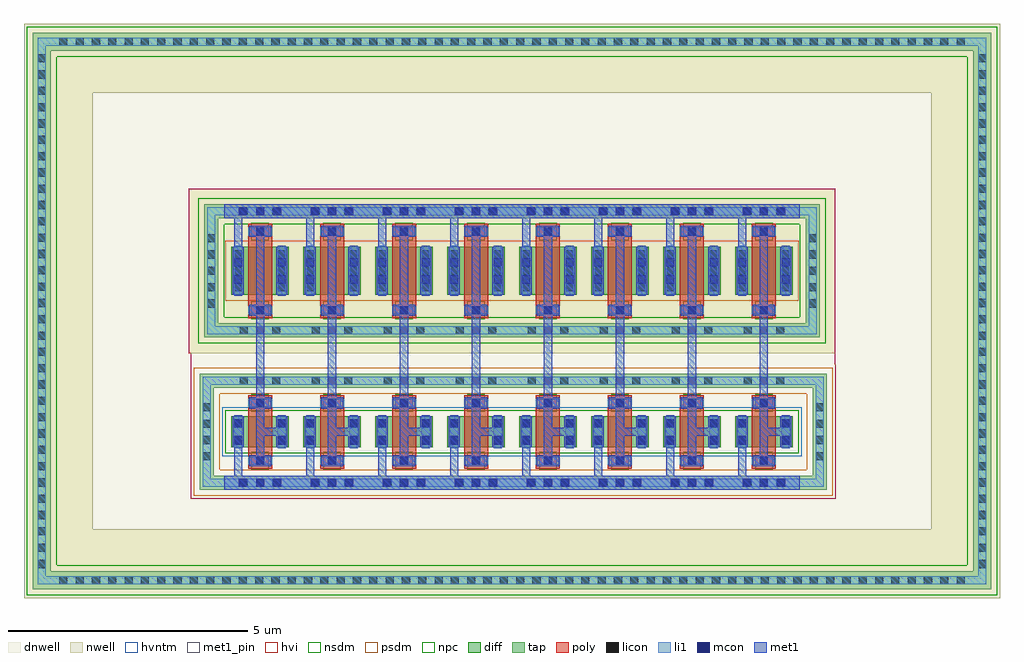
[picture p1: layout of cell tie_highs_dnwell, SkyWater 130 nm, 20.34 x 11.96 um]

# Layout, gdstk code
import gdstk
lib = gdstk.Library(unit=1e-6, precision=1e-09)
def R(c, l, rs):  # rectangles x0, y0, x1, y1
    for r in rs: c.add(gdstk.rectangle(r[:2], r[2:], *l))
def A(c, l, x, y, w, h, nx, ny, dx, dy):  # array of equal rectangles
    R(c, l, [(x+i*dx, y+j*dy, x+i*dx+w, y+j*dy+h) for i in range(nx) for j in range(ny)])
dnwell = (64, 18)
nwell = (64, 20)
diff = (65, 20)
tap = (65, 44)
poly = (66, 20)
licon = (66, 44)
li1 = (67, 20)
mcon = (67, 44)
met1_pin = (68, 16)
met1 = (68, 20)
hvi = (75, 20)
nsdm = (93, 44)
psdm = (94, 20)
npc = (95, 20)
hvntm = (125, 20)

transistor_pair_bus = lib.new_cell('transistor_pair_bus')
R(transistor_pair_bus, nwell, [(-0.3,3.03,13.18,6.46)])
A(transistor_pair_bus, diff, 0.59, 1.065, 1.2, 0.65, 8, 1, 1.5, 0)
A(transistor_pair_bus, diff, 0.59, 4.245, 1.2, 1, 8, 1, 1.5, 0)
R(transistor_pair_bus, tap, [(-0.07,0.18,13,0.47), (-0.07,0.47,0.22,2.31), (12.71,0.47,13,2.31), (-0.07,2.31,13,2.6), (0.03,3.36,12.85,3.65), (0.03,3.65,0.32,5.84), (12.56,3.65,12.85,5.84), (0.03,5.84,12.85,6.13)])
A(transistor_pair_bus, poly, 0.94, 0.625, 0.5, 1.53, 8, 1, 1.5, 0)
A(transistor_pair_bus, poly, 0.94, 3.76, 0.5, 1.97, 8, 1, 1.5, 0)
A(transistor_pair_bus, licon, 0.765, 0.24, 0.17, 0.17, 3, 2, 0.34, 2.13)
A(transistor_pair_bus, licon, 2.265, 0.24, 0.17, 0.17, 3, 2, 0.34, 2.13)
A(transistor_pair_bus, licon, 3.765, 0.24, 0.17, 0.17, 3, 2, 0.34, 2.13)
A(transistor_pair_bus, licon, 5.265, 0.24, 0.17, 0.17, 3, 2, 0.34, 2.13)
A(transistor_pair_bus, licon, 6.765, 0.24, 0.17, 0.17, 3, 2, 0.34, 2.13)
A(transistor_pair_bus, licon, 8.265, 0.24, 0.17, 0.17, 3, 2, 0.34, 2.13)
A(transistor_pair_bus, licon, 9.765, 0.24, 0.17, 0.17, 3, 2, 0.34, 2.13)
A(transistor_pair_bus, licon, 11.265, 0.24, 0.17, 0.17, 3, 2, 0.34, 2.13)
A(transistor_pair_bus, licon, 1.105, 0.705, 0.17, 0.17, 8, 2, 1.5, 1.2)
A(transistor_pair_bus, licon, -0.01, 0.795, 0.17, 0.17, 1, 4, 0, 0.34)
A(transistor_pair_bus, licon, 12.77, 0.795, 0.17, 0.17, 1, 4, 0, 0.34)
A(transistor_pair_bus, licon, 0.765, 3.42, 0.17, 0.17, 3, 2, 0.34, 2.48)
A(transistor_pair_bus, licon, 2.265, 3.42, 0.17, 0.17, 3, 2, 0.34, 2.48)
A(transistor_pair_bus, licon, 3.765, 3.42, 0.17, 0.17, 3, 2, 0.34, 2.48)
A(transistor_pair_bus, licon, 5.265, 3.42, 0.17, 0.17, 3, 2, 0.34, 2.48)
A(transistor_pair_bus, licon, 6.765, 3.42, 0.17, 0.17, 3, 2, 0.34, 2.48)
A(transistor_pair_bus, licon, 8.265, 3.42, 0.17, 0.17, 3, 2, 0.34, 2.48)
A(transistor_pair_bus, licon, 9.765, 3.42, 0.17, 0.17, 3, 2, 0.34, 2.48)
A(transistor_pair_bus, licon, 11.265, 3.42, 0.17, 0.17, 3, 2, 0.34, 2.48)
A(transistor_pair_bus, licon, 1.105, 3.84, 0.17, 0.17, 8, 2, 1.5, 1.64)
A(transistor_pair_bus, licon, 0.09, 3.98, 0.17, 0.17, 1, 5, 0, 0.34)
A(transistor_pair_bus, licon, 12.62, 3.98, 0.17, 0.17, 1, 5, 0, 0.34)
A(transistor_pair_bus, licon, 0.65, 4.32, 0.17, 0.17, 1, 3, 0, 0.34)
A(transistor_pair_bus, licon, 1.56, 4.32, 0.17, 0.17, 1, 3, 0, 0.34)
A(transistor_pair_bus, licon, 2.15, 4.32, 0.17, 0.17, 1, 3, 0, 0.34)
A(transistor_pair_bus, licon, 3.06, 4.32, 0.17, 0.17, 1, 3, 0, 0.34)
A(transistor_pair_bus, licon, 3.65, 4.32, 0.17, 0.17, 1, 3, 0, 0.34)
A(transistor_pair_bus, licon, 4.56, 4.32, 0.17, 0.17, 1, 3, 0, 0.34)
A(transistor_pair_bus, licon, 5.15, 4.32, 0.17, 0.17, 1, 3, 0, 0.34)
A(transistor_pair_bus, licon, 6.06, 4.32, 0.17, 0.17, 1, 3, 0, 0.34)
A(transistor_pair_bus, licon, 6.65, 4.32, 0.17, 0.17, 1, 3, 0, 0.34)
A(transistor_pair_bus, licon, 7.56, 4.32, 0.17, 0.17, 1, 3, 0, 0.34)
A(transistor_pair_bus, licon, 8.15, 4.32, 0.17, 0.17, 1, 3, 0, 0.34)
A(transistor_pair_bus, licon, 9.06, 4.32, 0.17, 0.17, 1, 3, 0, 0.34)
A(transistor_pair_bus, licon, 9.65, 4.32, 0.17, 0.17, 1, 3, 0, 0.34)
A(transistor_pair_bus, licon, 10.56, 4.32, 0.17, 0.17, 1, 3, 0, 0.34)
A(transistor_pair_bus, licon, 11.15, 4.32, 0.17, 0.17, 1, 3, 0, 0.34)
A(transistor_pair_bus, licon, 12.06, 4.32, 0.17, 0.17, 1, 3, 0, 0.34)
R(transistor_pair_bus, licon, [(0.65,1.135,0.82,1.305), (1.56,1.135,1.73,1.305), (2.15,1.135,2.32,1.305), (3.06,1.135,3.23,1.305), (3.65,1.135,3.82,1.305), (4.56,1.135,4.73,1.305), (5.15,1.135,5.32,1.305), (6.06,1.135,6.23,1.305), (6.65,1.135,6.82,1.305), (7.56,1.135,7.73,1.305), (8.15,1.135,8.32,1.305), (9.06,1.135,9.23,1.305), (9.65,1.135,9.82,1.305), (10.56,1.135,10.73,1.305), (11.15,1.135,11.32,1.305), (12.06,1.135,12.23,1.305), (0.65,1.475,0.82,1.645), (1.56,1.475,1.73,1.645), (2.15,1.475,2.32,1.645), (3.06,1.475,3.23,1.645), (3.65,1.475,3.82,1.645), (4.56,1.475,4.73,1.645), (5.15,1.475,5.32,1.645), (6.06,1.475,6.23,1.645), (6.65,1.475,6.82,1.645), (7.56,1.475,7.73,1.645), (8.15,1.475,8.32,1.645), (9.06,1.475,9.23,1.645), (9.65,1.475,9.82,1.645), (10.56,1.475,10.73,1.645), (11.15,1.475,11.32,1.645), (12.06,1.475,12.23,1.645)])
A(transistor_pair_bus, li1, 0.94, 0.705, 0.5, 0.17, 8, 2, 1.5, 1.2)
A(transistor_pair_bus, li1, 0.94, 3.84, 0.5, 0.17, 8, 2, 1.5, 1.64)
R(transistor_pair_bus, li1, [(-0.01,0.24,12.94,0.41), (-0.01,0.41,0.16,2.37), (12.77,0.41,12.94,2.37), (0.65,1.045,0.82,1.735), (1.56,1.045,1.73,1.735), (2.15,1.045,2.32,1.735), (3.06,1.045,3.23,1.735), (3.65,1.045,3.82,1.735), (4.56,1.045,4.73,1.735), (5.15,1.045,5.32,1.735), (6.06,1.045,6.23,1.735), (6.65,1.045,6.82,1.735), (7.56,1.045,7.73,1.735), (8.15,1.045,8.32,1.735), (9.06,1.045,9.23,1.735), (9.65,1.045,9.82,1.735), (10.56,1.045,10.73,1.735), (11.15,1.045,11.32,1.735), (12.06,1.045,12.23,1.735), (-0.01,2.37,12.94,2.54), (0.09,3.42,12.79,3.59), (0.09,3.59,0.26,5.9), (12.62,3.59,12.79,5.9), (0.65,4.225,0.82,5.265), (1.56,4.225,1.73,5.265), (2.15,4.225,2.32,5.265), (3.06,4.225,3.23,5.265), (3.65,4.225,3.82,5.265), (4.56,4.225,4.73,5.265), (5.15,4.225,5.32,5.265), (6.06,4.225,6.23,5.265), (6.65,4.225,6.82,5.265), (7.56,4.225,7.73,5.265), (8.15,4.225,8.32,5.265), (9.06,4.225,9.23,5.265), (9.65,4.225,9.82,5.265), (10.56,4.225,10.73,5.265), (11.15,4.225,11.32,5.265), (12.06,4.225,12.23,5.265), (0.09,5.9,12.79,6.07)])
A(transistor_pair_bus, mcon, 0.745, 0.24, 0.17, 0.17, 3, 2, 0.36, 5.66)
A(transistor_pair_bus, mcon, 2.245, 0.24, 0.17, 0.17, 3, 2, 0.36, 5.66)
A(transistor_pair_bus, mcon, 3.745, 0.24, 0.17, 0.17, 3, 2, 0.36, 5.66)
A(transistor_pair_bus, mcon, 5.245, 0.24, 0.17, 0.17, 3, 2, 0.36, 5.66)
A(transistor_pair_bus, mcon, 6.745, 0.24, 0.17, 0.17, 3, 2, 0.36, 5.66)
A(transistor_pair_bus, mcon, 8.245, 0.24, 0.17, 0.17, 3, 2, 0.36, 5.66)
A(transistor_pair_bus, mcon, 9.745, 0.24, 0.17, 0.17, 3, 2, 0.36, 5.66)
A(transistor_pair_bus, mcon, 11.245, 0.24, 0.17, 0.17, 3, 2, 0.36, 5.66)
A(transistor_pair_bus, mcon, 1.105, 0.705, 0.17, 0.17, 8, 2, 1.5, 1.2)
A(transistor_pair_bus, mcon, 1.105, 3.84, 0.17, 0.17, 8, 2, 1.5, 1.64)
R(transistor_pair_bus, mcon, [(0.65,1.125,0.82,1.295), (1.56,1.125,1.73,1.295), (2.15,1.125,2.32,1.295), (3.06,1.125,3.23,1.295), (3.65,1.125,3.82,1.295), (4.56,1.125,4.73,1.295), (5.15,1.125,5.32,1.295), (6.06,1.125,6.23,1.295), (6.65,1.125,6.82,1.295), (7.56,1.125,7.73,1.295), (8.15,1.125,8.32,1.295), (9.06,1.125,9.23,1.295), (9.65,1.125,9.82,1.295), (10.56,1.125,10.73,1.295), (11.15,1.125,11.32,1.295), (12.06,1.125,12.23,1.295), (0.65,1.485,0.82,1.655), (1.56,1.485,1.73,1.655), (2.15,1.485,2.32,1.655), (3.06,1.485,3.23,1.655), (3.65,1.485,3.82,1.655), (4.56,1.485,4.73,1.655), (5.15,1.485,5.32,1.655), (6.06,1.485,6.23,1.655), (6.65,1.485,6.82,1.655), (7.56,1.485,7.73,1.655), (8.15,1.485,8.32,1.655), (9.06,1.485,9.23,1.655), (9.65,1.485,9.82,1.655), (10.56,1.485,10.73,1.655), (11.15,1.485,11.32,1.655), (12.06,1.485,12.23,1.655), (0.65,4.48,0.82,4.65), (1.56,4.48,1.73,4.65), (2.15,4.48,2.32,4.65), (3.06,4.48,3.23,4.65), (3.65,4.48,3.82,4.65), (4.56,4.48,4.73,4.65), (5.15,4.48,5.32,4.65), (6.06,4.48,6.23,4.65), (6.65,4.48,6.82,4.65), (7.56,4.48,7.73,4.65), (8.15,4.48,8.32,4.65), (9.06,4.48,9.23,4.65), (9.65,4.48,9.82,4.65), (10.56,4.48,10.73,4.65), (11.15,4.48,11.32,4.65), (12.06,4.48,12.23,4.65), (0.65,4.84,0.82,5.01), (1.56,4.84,1.73,5.01), (2.15,4.84,2.32,5.01), (3.06,4.84,3.23,5.01), (3.65,4.84,3.82,5.01), (4.56,4.84,4.73,5.01), (5.15,4.84,5.32,5.01), (6.06,4.84,6.23,5.01), (6.65,4.84,6.82,5.01), (7.56,4.84,7.73,5.01), (8.15,4.84,8.32,5.01), (9.06,4.84,9.23,5.01), (9.65,4.84,9.82,5.01), (10.56,4.84,10.73,5.01), (11.15,4.84,11.32,5.01), (12.06,4.84,12.23,5.01)])
R(transistor_pair_bus, met1_pin, [(0.44,0.18,12.44,0.47), (0.44,5.84,12.44,6.13)])
A(transistor_pair_bus, met1, 0.96, 0.675, 0.46, 0.23, 8, 2, 1.5, 1.2)
A(transistor_pair_bus, met1, 1.105, 0.905, 0.17, 0.97, 8, 1, 1.5, 0)
A(transistor_pair_bus, met1, 0.96, 3.81, 0.46, 0.23, 8, 2, 1.5, 1.64)
A(transistor_pair_bus, met1, 1.105, 4.04, 0.17, 1.41, 8, 1, 1.5, 0)
R(transistor_pair_bus, met1, [(0.44,0.18,12.44,0.47), (0.65,1.045,0.82,1.065), (1.56,1.045,1.73,1.065), (2.15,1.045,2.32,1.065), (3.06,1.045,3.23,1.065), (3.65,1.045,3.82,1.065), (4.56,1.045,4.73,1.065), (5.15,1.045,5.32,1.065), (6.06,1.045,6.23,1.065), (6.65,1.045,6.82,1.065), (7.56,1.045,7.73,1.065), (8.15,1.045,8.32,1.065), (9.06,1.045,9.23,1.065), (9.65,1.045,9.82,1.065), (10.56,1.045,10.73,1.065), (11.15,1.045,11.32,1.065), (12.06,1.045,12.23,1.065), (0.62,1.065,0.85,1.715), (1.53,1.065,1.76,1.715), (2.12,1.065,2.35,1.715), (3.03,1.065,3.26,1.715), (3.62,1.065,3.85,1.715), (4.53,1.065,4.76,1.715), (5.12,1.065,5.35,1.715), (6.03,1.065,6.26,1.715), (6.62,1.065,6.85,1.715), (7.53,1.065,7.76,1.715), (8.12,1.065,8.35,1.715), (9.03,1.065,9.26,1.715), (9.62,1.065,9.85,1.715), (10.53,1.065,10.76,1.715), (11.12,1.065,11.35,1.715), (12.03,1.065,12.26,1.715), (0.65,1.715,0.82,1.735), (1.56,1.715,1.73,1.735), (2.15,1.715,2.32,1.735), (3.06,1.715,3.23,1.735), (3.65,1.715,3.82,1.735), (4.56,1.715,4.73,1.735), (5.15,1.715,5.32,1.735), (6.06,1.715,6.23,1.735), (6.65,1.715,6.82,1.735), (7.56,1.715,7.73,1.735), (8.15,1.715,8.32,1.735), (9.06,1.715,9.23,1.735), (9.65,1.715,9.82,1.735), (10.56,1.715,10.73,1.735), (11.15,1.715,11.32,1.735), (12.06,1.715,12.23,1.735), (0.65,4.225,0.82,4.245), (1.56,4.225,1.73,4.245), (2.15,4.225,2.32,4.245), (3.06,4.225,3.23,4.245), (3.65,4.225,3.82,4.245), (4.56,4.225,4.73,4.245), (5.15,4.225,5.32,4.245), (6.06,4.225,6.23,4.245), (6.65,4.225,6.82,4.245), (7.56,4.225,7.73,4.245), (8.15,4.225,8.32,4.245), (9.06,4.225,9.23,4.245), (9.65,4.225,9.82,4.245), (10.56,4.225,10.73,4.245), (11.15,4.225,11.32,4.245), (12.06,4.225,12.23,4.245), (0.62,4.245,0.85,5.245), (1.53,4.245,1.76,5.245), (2.12,4.245,2.35,5.245), (3.03,4.245,3.26,5.245), (3.62,4.245,3.85,5.245), (4.53,4.245,4.76,5.245), (5.12,4.245,5.35,5.245), (6.03,4.245,6.26,5.245), (6.62,4.245,6.85,5.245), (7.53,4.245,7.76,5.245), (8.12,4.245,8.35,5.245), (9.03,4.245,9.26,5.245), (9.62,4.245,9.85,5.245), (10.53,4.245,10.76,5.245), (11.12,4.245,11.35,5.245), (12.03,4.245,12.26,5.245), (0.65,5.245,0.82,5.265), (1.56,5.245,1.73,5.265), (2.15,5.245,2.32,5.265), (3.06,5.245,3.23,5.265), (3.65,5.245,3.82,5.265), (4.56,5.245,4.73,5.265), (5.15,5.245,5.32,5.265), (6.06,5.245,6.23,5.265), (6.65,5.245,6.82,5.265), (7.56,5.245,7.73,5.265), (8.15,5.245,8.32,5.265), (9.06,5.245,9.23,5.265), (9.65,5.245,9.82,5.265), (10.56,5.245,10.73,5.265), (11.15,5.245,11.32,5.265), (12.06,5.245,12.23,5.265), (0.44,5.84,12.44,6.13)])
R(transistor_pair_bus, hvi, [(-0.255,-0.005,13.185,2.785), (-0.255,2.785,13.18,3.03), (-0.3,3.03,13.18,6.46)])
R(transistor_pair_bus, nsdm, [(0.465,0.94,12.415,1.84), (-0.095,3.235,12.975,3.775), (-0.095,3.775,0.445,5.715), (12.435,3.775,12.975,5.715), (-0.095,5.715,12.975,6.255)])
R(transistor_pair_bus, psdm, [(-0.195,0.055,13.125,0.595), (-0.195,0.595,0.345,2.185), (12.585,0.595,13.125,2.185), (-0.195,2.185,13.125,2.725), (0.465,4.12,12.415,5.37)])
A(transistor_pair_bus, npc, 1.005, 0.605, 0.37, 0.37, 8, 2, 1.5, 1.2)
A(transistor_pair_bus, npc, 1.005, 3.74, 0.37, 0.37, 8, 2, 1.5, 1.64)
R(transistor_pair_bus, hvntm, [(0.405,0.88,12.475,1.9)])
transistor_pair_bus.add(gdstk.Label('VDD', (6.44,5.985), layer=68, texttype=5))
transistor_pair_bus.add(gdstk.Label('VSS', (6.44,0.325), layer=68, texttype=5))

tie_high = lib.new_cell('tie_high')
R(tie_high, met1_pin, [(0.44,0.18,1.94,0.47), (1.56,4.225,1.73,5.265), (0.44,5.84,1.94,6.13)])
R(tie_high, met1, [(0.44,0.18,1.94,0.47), (0.65,0.47,0.82,1.735), (1.105,0.705,1.275,1.305), (1.56,1.045,1.73,1.305), (1.105,1.305,1.73,1.475), (1.105,1.475,1.275,5.65), (1.56,1.475,1.73,1.735), (0.65,4.225,0.82,5.84), (1.56,4.225,1.73,5.265), (0.44,5.84,1.94,6.13)])
tie_high.add(gdstk.Label('HI', (1.645,4.745), layer=68, texttype=5))
tie_high.add(gdstk.Label('VDD', (1.19,5.985), layer=68, texttype=5))
tie_high.add(gdstk.Label('VSS', (1.19,0.325), layer=68, texttype=5))

tie_highs = lib.new_cell('tie_highs')
tie_highs.add(gdstk.Reference(transistor_pair_bus, (0,0)))
r = gdstk.Reference(tie_high, (0,0)); r.repetition = gdstk.Repetition(8, 1, v1=(1.5,0), v2=(0,6.46)); tie_highs.add(r)

tie_highs_dnwell = lib.new_cell('tie_highs_dnwell')
R(tie_highs_dnwell, dnwell, [(-3.03,-1.675,16.51,9.49)])
R(tie_highs_dnwell, nwell, [(-3.43,-2.075,16.91,-0.645), (-3.43,-0.645,-2,8.46), (15.48,-0.645,16.91,8.46), (-3.43,8.46,16.91,9.89)])
R(tie_highs_dnwell, tap, [(-3.245,-1.89,16.725,-1.52), (-3.245,-1.52,-2.875,9.335), (16.355,-1.52,16.725,9.335), (-3.245,9.335,16.725,9.705)])
A(tie_highs_dnwell, licon, -2.695, -1.79, 0.17, 0.17, 56, 2, 0.34, 11.225)
A(tie_highs_dnwell, licon, -3.145, -1.45, 0.17, 0.17, 1, 32, 0, 0.34)
A(tie_highs_dnwell, licon, 16.455, -1.45, 0.17, 0.17, 1, 32, 0, 0.34)
R(tie_highs_dnwell, li1, [(-3.145,-1.79,16.625,-1.62), (-3.145,-1.62,-2.975,9.435), (16.455,-1.62,16.625,9.435), (-3.145,9.435,16.625,9.605)])
R(tie_highs_dnwell, nsdm, [(-3.37,-2.015,16.85,-1.395), (-3.37,-1.395,-2.75,9.21), (16.23,-1.395,16.85,9.21), (-3.37,9.21,16.85,9.83)])
tie_highs_dnwell.add(gdstk.Reference(tie_highs, (0.3,0)))

lib.write_gds('tie_highs_dnwell.gds')
